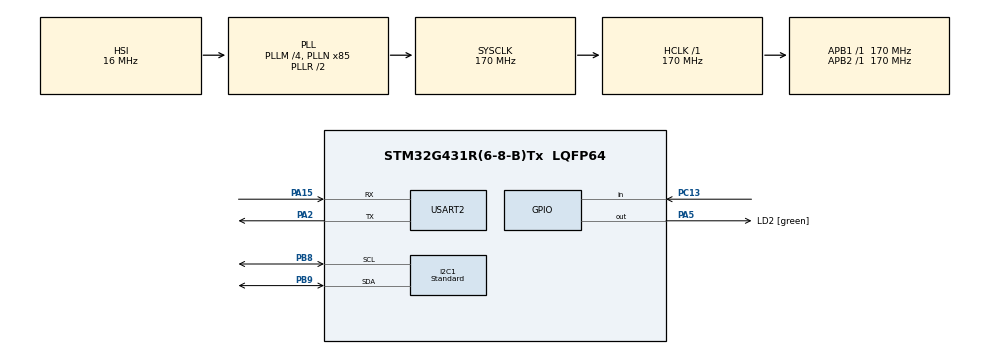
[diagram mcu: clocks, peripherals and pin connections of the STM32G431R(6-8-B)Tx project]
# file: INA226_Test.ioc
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I2C1.I2C_Fall_Time=100
I2C1.I2C_Rise_Time=100
I2C1.I2C_Speed_Mode=I2C_Standard
I2C1.Timing=0x40B285C2
Mcu.Family=STM32G4
Mcu.Name=STM32G431R(6-8-B)Tx
Mcu.Package=LQFP64
NVIC.PriorityGroup=NVIC_PRIORITYGROUP_4
PA13.GPIO_Label=T_SWDIO
PA13.Signal=SYS_JTMS-SWDIO
PA14.GPIO_Label=T_SWCLK
PA14.Signal=SYS_JTCK-SWCLK
PA15.Mode=Asynchronous
PA15.Signal=USART2_RX
PA2.Mode=Asynchronous
PA2.Signal=USART2_TX
PA3.GPIO_Label=LPUART1_RX [STLINKV3E_VCP_TX]
PA3.Signal=LPUART1_RX
PA5.GPIO_Label=LD2 [green]
PA5.Signal=GPIO_Output
PB3.GPIO_Label=T_SWO
PB3.Signal=SYS_JTDO-SWO
PB8-BOOT0.Mode=I2C
PB8-BOOT0.Signal=I2C1_SCL
PB9.Mode=I2C
PB9.Signal=I2C1_SDA
PC13.GPIO_PuPd=GPIO_NOPULL
PC13.Signal=GPIO_Input
PC14-OSC32_IN.GPIO_Label=RCC_OSC32_OUT
PC14-OSC32_IN.Signal=RCC_OSC32_IN
PC15-OSC32_OUT.GPIO_Label=RCC_OSC32_OUT
PC15-OSC32_OUT.Signal=RCC_OSC32_OUT
PF0-OSC_IN.GPIO_Label=RCC_OSC_IN
PF0-OSC_IN.Signal=RCC_OSC_IN
PF1-OSC_OUT.GPIO_Label=RCC_OSC_OUT
PF1-OSC_OUT.Signal=RCC_OSC_OUT
ProjectManager.HeapSize=0x200
ProjectManager.StackSize=0x400
ProjectManager.TargetToolchain=STM32CubeIDE
RCC.ADC12Freq_Value=170000000
RCC.AHBFreq_Value=170000000
RCC.APB1Freq_Value=170000000
RCC.APB1TimFreq_Value=170000000
RCC.APB2Freq_Value=170000000
RCC.APB2TimFreq_Value=170000000
RCC.CortexFreq_Value=170000000
RCC.EXTERNAL_CLOCK_VALUE=12288000
RCC.HCLKFreq_Value=170000000
RCC.HSE_VALUE=24000000
RCC.HSI48_VALUE=48000000
RCC.HSI_VALUE=16000000
RCC.LSE_VALUE=32768
RCC.PLLM=RCC_PLLM_DIV4
RCC.PLLN=85
RCC.RTCClockSelection=RCC_RTCCLKSOURCE_LSE
RCC.SYSCLKFreq_VALUE=170000000
RCC.SYSCLKSource=RCC_SYSCLKSOURCE_PLLCLK
RCC.USBFreq_Value=170000000
RCC.VCOOutputFreq_Value=340000000
USART2.VirtualMode-Asynchronous=VM_ASYNC
VP_SYS_VS_DBSignals.Mode=DisableDeadBatterySignals
board=NUCLEO-G431RB

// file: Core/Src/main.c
/* USER CODE BEGIN Header */
/**
  ******************************************************************************
  * @file           : main.c
  * @brief          : Main program body
  ******************************************************************************
  * @attention
  *
  * Copyright (c) 2026 STMicroelectronics.
  * All rights reserved.
  *
  * This software is licensed under terms that can be found in the LICENSE file
  * in the root directory of this software component.
  * If no LICENSE file comes with this software, it is provided AS-IS.
  *
  ******************************************************************************
  */
/* USER CODE END Header */
#include "main.h"

/* USER CODE BEGIN Includes */
#include <string.h>
#include <stdio.h>
/* USER CODE END Includes */

I2C_HandleTypeDef hi2c1;

UART_HandleTypeDef huart2;

/* USER CODE BEGIN PV */
INA226_Handle_TypeDef_t FLT_DETECT;
uint16_t rx_data;
/* USER CODE END PV */

void SystemClock_Config(void);
static void MX_GPIO_Init(void);
static void MX_I2C1_Init(void);
static void MX_USART2_UART_Init(void);

int main(void)
{

  /* MCU Configuration--------------------------------------------------------*/

  /* Reset of all peripherals, Initializes the Flash interface and the Systick. */
  HAL_Init();

  /* Configure the system clock */
  SystemClock_Config();

  /* Initialize all configured peripherals */
  MX_GPIO_Init();
  MX_I2C1_Init();
  MX_USART2_UART_Init();
  /* USER CODE BEGIN 2 */
  FLT_DETECT.FAULT_Port = GPIOB;
  FLT_DETECT.FAULT_Pin = GPIO_PIN_7;
  FLT_DETECT.hi2c = &hi2c1;
  FLT_DETECT.Init.dev_i2c_addr = (0x45<<1U);
  FLT_DETECT.Init.op_mode = INA226_OP_MODE_SH_BUS_VT_TRG;
  FLT_DETECT.Init.vshct = INA226_VBUSCT_140US;
  FLT_DETECT.Init.vbusct = INA226_VBUSCT_140US;
  FLT_DETECT.Init.avg = INA226_AVG_1024;
  INA226_Init(&FLT_DETECT);
  FLT_DETECT.Init.max_cur_exp_A = 0.5;
  FLT_DETECT.Init.shunt_res_Ohm = 0.1;
  INA226_Set_Calib(&FLT_DETECT);
  float ff;
  uint32_t len;
  char c[40];
  uint16_t dada = 0x7FFF;
  uint16_t val = 0xFA0;
//  uint16_t dd;
  INA226_Modify_En_Msk(&FLT_DETECT,INA226_EN_MSK_LEN, ENABLE);
  INA226_Set_Alert_Val(&FLT_DETECT, val);

  /* USER CODE END 2 */

  /* Infinite loop */
  while (1)
  {

    /* USER CODE BEGIN 3 */
	  if(HAL_GPIO_ReadPin(GPIOC, GPIO_PIN_13) == GPIO_PIN_SET)
	  {
		  HAL_Delay(150);
		  if(INA226_Get_Flag_Status(&FLT_DETECT, INA226_FLAG_CVRF))
		  {
			  HAL_Delay(150);
			  INA226_Get_Bus_Vltg_V(&FLT_DETECT, &ff);
			  len = sprintf(c,"Bus Voltage: %f\r",ff);
			  HAL_UART_Transmit(&huart2,(uint8_t*)c,len, HAL_MAX_DELAY);

			  INA226_Get_Shunt_Vltg_V(&FLT_DETECT, &ff);
			  len = sprintf(c,"Shunt Voltage: %f\r",ff);
			  HAL_UART_Transmit(&huart2,(uint8_t*)c,len, HAL_MAX_DELAY);

			  INA226_Get_Current_A(&FLT_DETECT, &ff);
			  len = sprintf(c,"Current: %f\r",ff);
			  HAL_UART_Transmit(&huart2,(uint8_t*)c,len, HAL_MAX_DELAY);

			  INA226_Get_Power_W(&FLT_DETECT, &ff);
			  len = sprintf(c,"Power: %f\r\n",ff);
			  HAL_UART_Transmit(&huart2,(uint8_t*)c,len, HAL_MAX_DELAY);
		  }
	  }
  }
  /* USER CODE END 3 */
}

void SystemClock_Config(void)
{
  RCC_OscInitTypeDef RCC_OscInitStruct = {0};
  RCC_ClkInitTypeDef RCC_ClkInitStruct = {0};

  /** Configure the main internal regulator output voltage
  */
  HAL_PWREx_ControlVoltageScaling(PWR_REGULATOR_VOLTAGE_SCALE1_BOOST);

  /** Initializes the RCC Oscillators according to the specified parameters
  * in the RCC_OscInitTypeDef structure.
  */
  RCC_OscInitStruct.OscillatorType = RCC_OSCILLATORTYPE_HSI;
  RCC_OscInitStruct.HSIState = RCC_HSI_ON;
  RCC_OscInitStruct.HSICalibrationValue = RCC_HSICALIBRATION_DEFAULT;
  RCC_OscInitStruct.PLL.PLLState = RCC_PLL_ON;
  RCC_OscInitStruct.PLL.PLLSource = RCC_PLLSOURCE_HSI;
  RCC_OscInitStruct.PLL.PLLM = RCC_PLLM_DIV4;
  RCC_OscInitStruct.PLL.PLLN = 85;
  RCC_OscInitStruct.PLL.PLLP = RCC_PLLP_DIV2;
  RCC_OscInitStruct.PLL.PLLQ = RCC_PLLQ_DIV2;
  RCC_OscInitStruct.PLL.PLLR = RCC_PLLR_DIV2;
  if (HAL_RCC_OscConfig(&RCC_OscInitStruct) != HAL_OK)
  {
    Error_Handler();
  }

  /** Initializes the CPU, AHB and APB buses clocks
  */
  RCC_ClkInitStruct.ClockType = RCC_CLOCKTYPE_HCLK|RCC_CLOCKTYPE_SYSCLK
                              |RCC_CLOCKTYPE_PCLK1|RCC_CLOCKTYPE_PCLK2;
  RCC_ClkInitStruct.SYSCLKSource = RCC_SYSCLKSOURCE_PLLCLK;
  RCC_ClkInitStruct.AHBCLKDivider = RCC_SYSCLK_DIV1;
  RCC_ClkInitStruct.APB1CLKDivider = RCC_HCLK_DIV1;
  RCC_ClkInitStruct.APB2CLKDivider = RCC_HCLK_DIV1;

  if (HAL_RCC_ClockConfig(&RCC_ClkInitStruct, FLASH_LATENCY_4) != HAL_OK)
  {
    Error_Handler();
  }
}

static void MX_I2C1_Init(void)
{

  hi2c1.Instance = I2C1;
  hi2c1.Init.Timing = 0x40B285C2;
  hi2c1.Init.OwnAddress1 = 0;
  hi2c1.Init.AddressingMode = I2C_ADDRESSINGMODE_7BIT;
  hi2c1.Init.DualAddressMode = I2C_DUALADDRESS_DISABLE;
  hi2c1.Init.OwnAddress2 = 0;
  hi2c1.Init.OwnAddress2Masks = I2C_OA2_NOMASK;
  hi2c1.Init.GeneralCallMode = I2C_GENERALCALL_DISABLE;
  hi2c1.Init.NoStretchMode = I2C_NOSTRETCH_DISABLE;
  if (HAL_I2C_Init(&hi2c1) != HAL_OK)
  {
    Error_Handler();
  }

  /** Configure Analogue filter
  */
  if (HAL_I2CEx_ConfigAnalogFilter(&hi2c1, I2C_ANALOGFILTER_ENABLE) != HAL_OK)
  {
    Error_Handler();
  }

  /** Configure Digital filter
  */
  if (HAL_I2CEx_ConfigDigitalFilter(&hi2c1, 0) != HAL_OK)
  {
    Error_Handler();
  }

}

static void MX_USART2_UART_Init(void)
{

  huart2.Instance = USART2;
  huart2.Init.BaudRate = 115200;
  huart2.Init.WordLength = UART_WORDLENGTH_8B;
  huart2.Init.StopBits = UART_STOPBITS_1;
  huart2.Init.Parity = UART_PARITY_NONE;
  huart2.Init.Mode = UART_MODE_TX_RX;
  huart2.Init.HwFlowCtl = UART_HWCONTROL_NONE;
  huart2.Init.OverSampling = UART_OVERSAMPLING_16;
  huart2.Init.OneBitSampling = UART_ONE_BIT_SAMPLE_DISABLE;
  huart2.Init.ClockPrescaler = UART_PRESCALER_DIV1;
  huart2.AdvancedInit.AdvFeatureInit = UART_ADVFEATURE_NO_INIT;
  if (HAL_UART_Init(&huart2) != HAL_OK)
  {
    Error_Handler();
  }
  if (HAL_UARTEx_SetTxFifoThreshold(&huart2, UART_TXFIFO_THRESHOLD_1_8) != HAL_OK)
  {
    Error_Handler();
  }
  if (HAL_UARTEx_SetRxFifoThreshold(&huart2, UART_RXFIFO_THRESHOLD_1_8) != HAL_OK)
  {
    Error_Handler();
  }
  if (HAL_UARTEx_DisableFifoMode(&huart2) != HAL_OK)
  {
    Error_Handler();
  }

}

static void MX_GPIO_Init(void)
{
  GPIO_InitTypeDef GPIO_InitStruct = {0};

  /* GPIO Ports Clock Enable */
  __HAL_RCC_GPIOC_CLK_ENABLE();
  __HAL_RCC_GPIOF_CLK_ENABLE();
  __HAL_RCC_GPIOA_CLK_ENABLE();
  __HAL_RCC_GPIOB_CLK_ENABLE();

  /*Configure GPIO pin Output Level */
  HAL_GPIO_WritePin(LD2_GPIO_Port, LD2_Pin, GPIO_PIN_RESET);

  /*Configure GPIO pin : PC13 */
  GPIO_InitStruct.Pin = GPIO_PIN_13;
  GPIO_InitStruct.Mode = GPIO_MODE_INPUT;
  GPIO_InitStruct.Pull = GPIO_NOPULL;
  HAL_GPIO_Init(GPIOC, &GPIO_InitStruct);

  /*Configure GPIO pin : LPUART1_RX_Pin */
  GPIO_InitStruct.Pin = LPUART1_RX_Pin;
  GPIO_InitStruct.Mode = GPIO_MODE_AF_PP;
  GPIO_InitStruct.Pull = GPIO_NOPULL;
  GPIO_InitStruct.Speed = GPIO_SPEED_FREQ_LOW;
  GPIO_InitStruct.Alternate = GPIO_AF12_LPUART1;
  HAL_GPIO_Init(LPUART1_RX_GPIO_Port, &GPIO_InitStruct);

  /*Configure GPIO pin : LD2_Pin */
  GPIO_InitStruct.Pin = LD2_Pin;
  GPIO_InitStruct.Mode = GPIO_MODE_OUTPUT_PP;
  GPIO_InitStruct.Pull = GPIO_NOPULL;
  GPIO_InitStruct.Speed = GPIO_SPEED_FREQ_LOW;
  HAL_GPIO_Init(LD2_GPIO_Port, &GPIO_InitStruct);

}

void Error_Handler(void)
{
  __disable_irq();
  while (1)
  {
  }
}
